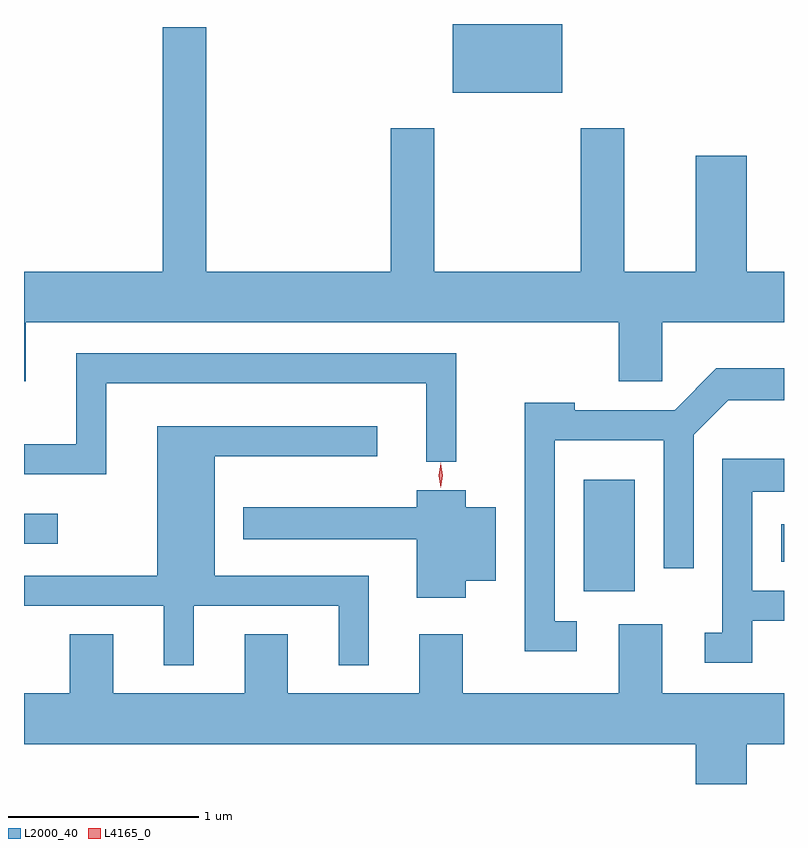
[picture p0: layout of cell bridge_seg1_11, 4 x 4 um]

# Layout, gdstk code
import gdstk
lib = gdstk.Library(unit=1e-6, precision=1e-09)
def R(c, l, rs):  # rectangles x0, y0, x1, y1
    for r in rs: c.add(gdstk.rectangle(r[:2], r[2:], *l))
def P(c, l, *ps):  # polygons
    for p in ps: c.add(gdstk.Polygon(p, *l))
L2000_40 = (2000, 40)
L4165_0 = (4165, 0)

bridge_seg1_11 = lib.new_cell('bridge_seg1_11')
R(bridge_seg1_11, L2000_40, [(1513.186,895.941,1513.454,896.529), (1514.226,896.096,1514.24,896.294), (1510.24,896.191,1510.418,896.349), (1512.496,898.566,1513.074,898.927)])
P(bridge_seg1_11, L2000_40, [(1510.249,897.356),(1513.371,897.356),(1513.371,897.046),(1513.599,897.046),(1513.599,897.356),(1514.24,897.356),(1514.24,897.624),(1514.044,897.624),(1514.044,898.234),(1513.776,898.234),(1513.776,897.624),(1513.399,897.624),(1513.399,898.379),(1513.171,898.379),(1513.171,897.624),(1512.399,897.624),(1512.399,898.379),(1512.171,898.379),(1512.171,897.624),(1511.199,897.624),(1511.199,898.909),(1510.971,898.909),(1510.971,897.624),(1510.24,897.624),(1510.24,897.046),(1510.249,897.046)],
  [(1510.674,897.036),(1512.356,897.036),(1512.356,896.623),(1512.514,896.623),(1512.514,897.194),(1510.516,897.194),(1510.516,896.714),(1510.24,896.714),(1510.24,896.556),(1510.674,896.556)],
  [(1513.148,895.784),(1513.034,895.784),(1513.034,896.736),(1513.606,896.736),(1513.606,896.063),(1513.764,896.063),(1513.764,896.764),(1513.947,896.946),(1514.24,896.946),(1514.24,897.114),(1513.884,897.114),(1513.664,896.894),(1513.139,896.894),(1513.139,896.934),(1512.876,896.934),(1512.876,895.626),(1513.148,895.626)],
  [(1511.134,895.866),(1511.896,895.866),(1511.896,895.553),(1512.054,895.553),(1512.054,896.024),(1511.244,896.024),(1511.244,896.651),(1512.098,896.651),(1512.098,896.809),(1510.941,896.809),(1510.941,896.024),(1510.24,896.024),(1510.24,895.866),(1510.976,895.866),(1510.976,895.553),(1511.134,895.553)],
  [(1514.074,895.786),(1514.24,895.786),(1514.24,895.944),(1514.074,895.944),(1514.074,896.466),(1514.24,896.466),(1514.24,896.639),(1513.916,896.639),(1513.916,895.724),(1513.823,895.724),(1513.823,895.566),(1514.074,895.566)],
  [(1512.564,895.996),(1512.724,895.996),(1512.724,896.384),(1512.564,896.384),(1512.564,896.474),(1512.306,896.474),(1512.306,896.384),(1511.393,896.384),(1511.393,896.216),(1512.306,896.216),(1512.306,895.906),(1512.564,895.906)],
  [(1514.044,895.136),(1514.24,895.136),(1514.24,895.404),(1513.599,895.404),(1513.599,895.769),(1513.371,895.769),(1513.371,895.404),(1512.549,895.404),(1512.549,895.714),(1512.321,895.714),(1512.321,895.404),(1511.629,895.404),(1511.629,895.714),(1511.401,895.714),(1511.401,895.404),(1510.709,895.404),(1510.709,895.714),(1510.481,895.714),(1510.481,895.404),(1510.24,895.404),(1510.24,895.136),(1513.776,895.136),(1513.776,894.927),(1514.044,894.927)])
P(bridge_seg1_11, L4165_0, [(1512.433,896.485),(1512.433,896.485),(1512.423,896.551),(1512.433,896.616),(1512.433,896.617),(1512.434,896.616),(1512.443,896.551),(1512.434,896.485)])

lib.write_gds('bridge_seg1_11.gds')
